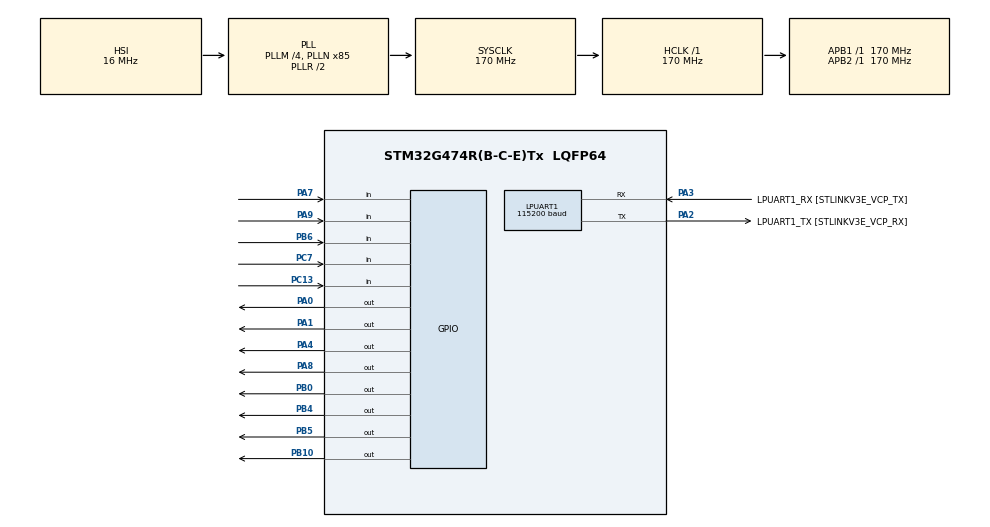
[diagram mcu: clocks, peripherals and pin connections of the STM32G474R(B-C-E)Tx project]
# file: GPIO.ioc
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LPUART1.BaudRate=115200
LPUART1.WordLength=UART_WORDLENGTH_8B
Mcu.Family=STM32G4
Mcu.Name=STM32G474R(B-C-E)Tx
Mcu.Package=LQFP64
NVIC.PriorityGroup=NVIC_PRIORITYGROUP_4
PA0.Signal=GPIO_Output
PA1.Signal=GPIO_Output
PA13.GPIO_Label=T_SWDIO
PA13.Mode=Serial_Wire
PA13.Signal=SYS_JTMS-SWDIO
PA14.GPIO_Label=T_SWCLK
PA14.Mode=Serial_Wire
PA14.Signal=SYS_JTCK-SWCLK
PA2.GPIO_Label=LPUART1_TX [STLINKV3E_VCP_RX]
PA2.Mode=Asynchronous
PA2.Signal=LPUART1_TX
PA3.GPIO_Label=LPUART1_RX [STLINKV3E_VCP_TX]
PA3.Mode=Asynchronous
PA3.Signal=LPUART1_RX
PA4.Signal=GPIO_Output
PA7.GPIO_PuPd=GPIO_PULLUP
PA7.Signal=GPIO_Input
PA8.GPIO_ModeDefaultOutputPP=GPIO_MODE_OUTPUT_OD
PA8.GPIO_PuPd=GPIO_NOPULL
PA8.Signal=GPIO_Output
PA9.GPIO_PuPd=GPIO_PULLUP
PA9.Signal=GPIO_Input
PB0.Signal=GPIO_Output
PB10.GPIO_ModeDefaultOutputPP=GPIO_MODE_OUTPUT_OD
PB10.GPIO_PuPd=GPIO_NOPULL
PB10.Signal=GPIO_Output
PB3.GPIO_Label=T_SWO
PB3.Signal=SYS_JTDO-SWO
PB4.GPIO_ModeDefaultOutputPP=GPIO_MODE_OUTPUT_OD
PB4.GPIO_PuPd=GPIO_NOPULL
PB4.Signal=GPIO_Output
PB5.GPIO_ModeDefaultOutputPP=GPIO_MODE_OUTPUT_OD
PB5.GPIO_PuPd=GPIO_NOPULL
PB5.Signal=GPIO_Output
PB6.GPIO_PuPd=GPIO_PULLUP
PB6.Signal=GPIO_Input
PC13.Signal=GPIO_Input
PC14-OSC32_IN.Mode=LSE-External-Oscillator
PC14-OSC32_IN.Signal=RCC_OSC32_IN
PC15-OSC32_OUT.Mode=LSE-External-Oscillator
PC15-OSC32_OUT.Signal=RCC_OSC32_OUT
PC7.GPIO_PuPd=GPIO_PULLUP
PC7.Signal=GPIO_Input
PF0-OSC_IN.Mode=HSE-External-Oscillator
PF0-OSC_IN.Signal=RCC_OSC_IN
PF1-OSC_OUT.Mode=HSE-External-Oscillator
PF1-OSC_OUT.Signal=RCC_OSC_OUT
ProjectManager.HeapSize=0x200
ProjectManager.StackSize=0x400
ProjectManager.TargetToolchain=STM32CubeIDE
RCC.ADC12Freq_Value=170000000
RCC.ADC345Freq_Value=170000000
RCC.AHBFreq_Value=170000000
RCC.APB1Freq_Value=170000000
RCC.APB1TimFreq_Value=170000000
RCC.APB2Freq_Value=170000000
RCC.APB2TimFreq_Value=170000000
RCC.CortexFreq_Value=170000000
RCC.EXTERNAL_CLOCK_VALUE=12288000
RCC.HCLKFreq_Value=170000000
RCC.HSE_VALUE=24000000
RCC.HSI48_VALUE=48000000
RCC.HSI_VALUE=16000000
RCC.PLLM=RCC_PLLM_DIV4
RCC.PLLN=85
RCC.RTCClockSelection=RCC_RTCCLKSOURCE_LSE
RCC.SYSCLKFreq_VALUE=170000000
RCC.SYSCLKSource=RCC_SYSCLKSOURCE_PLLCLK
RCC.USBFreq_Value=170000000
RCC.VCOOutputFreq_Value=340000000
VP_SYS_VS_DBSignals.Mode=DisableDeadBatterySignals
board=NUCLEO-G474RE

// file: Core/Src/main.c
/* USER CODE BEGIN Header */
/**
  ******************************************************************************
  * @file           : main.c
  * @brief          : Main program body
  ******************************************************************************
  * @attention
  *
  * Copyright (c) 2023 STMicroelectronics.
  * All rights reserved.
  *
  * This software is licensed under terms that can be found in the LICENSE file
  * in the root directory of this software component.
  * If no LICENSE file comes with this software, it is provided AS-IS.
  *
  ******************************************************************************
  */
/* USER CODE END Header */
#include "main.h"

UART_HandleTypeDef hlpuart1;

/* USER CODE BEGIN PV */
struct _ButMtx_Struct {
GPIO_TypeDef* Port;
    uint16_t Pin;
};
struct _ButMtx_Struct BMX_L[4] = { {GPIOA,GPIO_PIN_9}, {GPIOC,GPIO_PIN_7}, {GPIOB,GPIO_PIN_6}, {GPIOA,GPIO_PIN_7}
};
struct _ButMtx_Struct BMX_R[4] = { {GPIOB,GPIO_PIN_5}, {GPIOB,GPIO_PIN_4}, {GPIOB,GPIO_PIN_10}, {GPIOA,GPIO_PIN_8}
};
uint16_t ButtonState = 0;
/* USER CODE END PV */

void SystemClock_Config(void);
static void MX_GPIO_Init(void);
static void MX_LPUART1_UART_Init(void);

int main(void)
{

  /* MCU Configuration--------------------------------------------------------*/

  /* Reset of all peripherals, Initializes the Flash interface and the Systick. */
  HAL_Init();

  /* Configure the system clock */
  SystemClock_Config();

  /* Initialize all configured peripherals */
  MX_GPIO_Init();
  MX_LPUART1_UART_Init();
  /* USER CODE BEGIN 2 */
  HAL_GPIO_WritePin(GPIOA, GPIO_PIN_5, GPIO_PIN_SET);
  /* USER CODE END 2 */

  /* Infinite loop */
  while (1)
  {

    /* USER CODE BEGIN 3 */
	  static uint32_t BTMX_TimeStamp = 0; if(HAL_GetTick() > BTMX_TimeStamp) {
	  BTMX_TimeStamp = HAL_GetTick() + 25; //next scan in 25 ms ButtonMatrixRead();
	  } }

    /* USER CODE BEGIN 3 */
	  GPIO_PinState S1 = HAL_GPIO_ReadPin(GPIOA, GPIO_PIN_8);
	  GPIO_PinState S2 = HAL_GPIO_ReadPin(GPIOA, GPIO_PIN_9);
	  GPIO_PinState S3 = HAL_GPIO_ReadPin(GPIOC, GPIO_PIN_7);
	  GPIO_PinState S4 = HAL_GPIO_ReadPin(GPIOB, GPIO_PIN_6);
	  HAL_GPIO_WritePin(GPIOB, GPIO_PIN_0, S1);
	  HAL_GPIO_WritePin(GPIOA, GPIO_PIN_4, S2);
	  HAL_GPIO_WritePin(GPIOA, GPIO_PIN_1, S3);
	  HAL_GPIO_WritePin(GPIOA, GPIO_PIN_0, S4);

  }
  /* USER CODE END 3 */

void SystemClock_Config(void)
{
  RCC_OscInitTypeDef RCC_OscInitStruct = {0};
  RCC_ClkInitTypeDef RCC_ClkInitStruct = {0};

  /** Configure the main internal regulator output voltage
  */
  HAL_PWREx_ControlVoltageScaling(PWR_REGULATOR_VOLTAGE_SCALE1_BOOST);

  /** Initializes the RCC Oscillators according to the specified parameters
  * in the RCC_OscInitTypeDef structure.
  */
  RCC_OscInitStruct.OscillatorType = RCC_OSCILLATORTYPE_HSI;
  RCC_OscInitStruct.HSIState = RCC_HSI_ON;
  RCC_OscInitStruct.HSICalibrationValue = RCC_HSICALIBRATION_DEFAULT;
  RCC_OscInitStruct.PLL.PLLState = RCC_PLL_ON;
  RCC_OscInitStruct.PLL.PLLSource = RCC_PLLSOURCE_HSI;
  RCC_OscInitStruct.PLL.PLLM = RCC_PLLM_DIV4;
  RCC_OscInitStruct.PLL.PLLN = 85;
  RCC_OscInitStruct.PLL.PLLP = RCC_PLLP_DIV2;
  RCC_OscInitStruct.PLL.PLLQ = RCC_PLLQ_DIV2;
  RCC_OscInitStruct.PLL.PLLR = RCC_PLLR_DIV2;
  if (HAL_RCC_OscConfig(&RCC_OscInitStruct) != HAL_OK)
  {
    Error_Handler();
  }

  /** Initializes the CPU, AHB and APB buses clocks
  */
  RCC_ClkInitStruct.ClockType = RCC_CLOCKTYPE_HCLK|RCC_CLOCKTYPE_SYSCLK
                              |RCC_CLOCKTYPE_PCLK1|RCC_CLOCKTYPE_PCLK2;
  RCC_ClkInitStruct.SYSCLKSource = RCC_SYSCLKSOURCE_PLLCLK;
  RCC_ClkInitStruct.AHBCLKDivider = RCC_SYSCLK_DIV1;
  RCC_ClkInitStruct.APB1CLKDivider = RCC_HCLK_DIV1;
  RCC_ClkInitStruct.APB2CLKDivider = RCC_HCLK_DIV1;

  if (HAL_RCC_ClockConfig(&RCC_ClkInitStruct, FLASH_LATENCY_4) != HAL_OK)
  {
    Error_Handler();
  }
}

static void MX_LPUART1_UART_Init(void)
{

  hlpuart1.Instance = LPUART1;
  hlpuart1.Init.BaudRate = 115200;
  hlpuart1.Init.WordLength = UART_WORDLENGTH_8B;
  hlpuart1.Init.StopBits = UART_STOPBITS_1;
  hlpuart1.Init.Parity = UART_PARITY_NONE;
  hlpuart1.Init.Mode = UART_MODE_TX_RX;
  hlpuart1.Init.HwFlowCtl = UART_HWCONTROL_NONE;
  hlpuart1.Init.OneBitSampling = UART_ONE_BIT_SAMPLE_DISABLE;
  hlpuart1.Init.ClockPrescaler = UART_PRESCALER_DIV1;
  hlpuart1.AdvancedInit.AdvFeatureInit = UART_ADVFEATURE_NO_INIT;
  if (HAL_UART_Init(&hlpuart1) != HAL_OK)
  {
    Error_Handler();
  }
  if (HAL_UARTEx_SetTxFifoThreshold(&hlpuart1, UART_TXFIFO_THRESHOLD_1_8) != HAL_OK)
  {
    Error_Handler();
  }
  if (HAL_UARTEx_SetRxFifoThreshold(&hlpuart1, UART_RXFIFO_THRESHOLD_1_8) != HAL_OK)
  {
    Error_Handler();
  }
  if (HAL_UARTEx_DisableFifoMode(&hlpuart1) != HAL_OK)
  {
    Error_Handler();
  }

}

static void MX_GPIO_Init(void)
{
  GPIO_InitTypeDef GPIO_InitStruct = {0};

  /* GPIO Ports Clock Enable */
  __HAL_RCC_GPIOC_CLK_ENABLE();
  __HAL_RCC_GPIOF_CLK_ENABLE();
  __HAL_RCC_GPIOA_CLK_ENABLE();
  __HAL_RCC_GPIOB_CLK_ENABLE();

  /*Configure GPIO pin Output Level */
  HAL_GPIO_WritePin(GPIOA, GPIO_PIN_0|GPIO_PIN_1|GPIO_PIN_4|GPIO_PIN_8, GPIO_PIN_RESET);

  /*Configure GPIO pin Output Level */
  HAL_GPIO_WritePin(GPIOB, GPIO_PIN_0|GPIO_PIN_10|GPIO_PIN_4|GPIO_PIN_5, GPIO_PIN_RESET);

  /*Configure GPIO pin : PC13 */
  GPIO_InitStruct.Pin = GPIO_PIN_13;
  GPIO_InitStruct.Mode = GPIO_MODE_INPUT;
  GPIO_InitStruct.Pull = GPIO_NOPULL;
  HAL_GPIO_Init(GPIOC, &GPIO_InitStruct);

  /*Configure GPIO pins : PA0 PA1 PA4 */
  GPIO_InitStruct.Pin = GPIO_PIN_0|GPIO_PIN_1|GPIO_PIN_4;
  GPIO_InitStruct.Mode = GPIO_MODE_OUTPUT_PP;
  GPIO_InitStruct.Pull = GPIO_NOPULL;
  GPIO_InitStruct.Speed = GPIO_SPEED_FREQ_LOW;
  HAL_GPIO_Init(GPIOA, &GPIO_InitStruct);

  /*Configure GPIO pins : PA7 PA9 */
  GPIO_InitStruct.Pin = GPIO_PIN_7|GPIO_PIN_9;
  GPIO_InitStruct.Mode = GPIO_MODE_INPUT;
  GPIO_InitStruct.Pull = GPIO_PULLUP;
  HAL_GPIO_Init(GPIOA, &GPIO_InitStruct);

  /*Configure GPIO pin : PB0 */
  GPIO_InitStruct.Pin = GPIO_PIN_0;
  GPIO_InitStruct.Mode = GPIO_MODE_OUTPUT_PP;
  GPIO_InitStruct.Pull = GPIO_NOPULL;
  GPIO_InitStruct.Speed = GPIO_SPEED_FREQ_LOW;
  HAL_GPIO_Init(GPIOB, &GPIO_InitStruct);

  /*Configure GPIO pins : PB10 PB4 PB5 */
  GPIO_InitStruct.Pin = GPIO_PIN_10|GPIO_PIN_4|GPIO_PIN_5;
  GPIO_InitStruct.Mode = GPIO_MODE_OUTPUT_OD;
  GPIO_InitStruct.Pull = GPIO_NOPULL;
  GPIO_InitStruct.Speed = GPIO_SPEED_FREQ_LOW;
  HAL_GPIO_Init(GPIOB, &GPIO_InitStruct);

  /*Configure GPIO pin : PC7 */
  GPIO_InitStruct.Pin = GPIO_PIN_7;
  GPIO_InitStruct.Mode = GPIO_MODE_INPUT;
  GPIO_InitStruct.Pull = GPIO_PULLUP;
  HAL_GPIO_Init(GPIOC, &GPIO_InitStruct);

  /*Configure GPIO pin : PA8 */
  GPIO_InitStruct.Pin = GPIO_PIN_8;
  GPIO_InitStruct.Mode = GPIO_MODE_OUTPUT_OD;
  GPIO_InitStruct.Pull = GPIO_NOPULL;
  GPIO_InitStruct.Speed = GPIO_SPEED_FREQ_LOW;
  HAL_GPIO_Init(GPIOA, &GPIO_InitStruct);

  /*Configure GPIO pin : PB6 */
  GPIO_InitStruct.Pin = GPIO_PIN_6;
  GPIO_InitStruct.Mode = GPIO_MODE_INPUT;
  GPIO_InitStruct.Pull = GPIO_PULLUP;
  HAL_GPIO_Init(GPIOB, &GPIO_InitStruct);

}

/* USER CODE BEGIN 4 */
void ButtonMatrixRead(){ static uint8_t X=0;
for(int i=0; i<4; i++) {
if(HAL_GPIO_ReadPin(BMX_L[i].Port, BMX_L[i].Pin) == GPIO_PIN_RESET) { //�?�?ุมถู�?�?ด
ButtonState |= 1 << (i + (X * 4)); }
else
{
ButtonState &= ~(1 << (i + (X * 4)));
} }
//set currentL to Hi-z (open drain)
HAL_GPIO_WritePin(BMX_R[X].Port, BMX_R[X].Pin, GPIO_PIN_SET);
//set nextL to low
uint8_t nextX = (X + 1) % 4;
HAL_GPIO_WritePin(BMX_R[nextX].Port, BMX_R[nextX].Pin, GPIO_PIN_RESET); X = nextX;
}
/* USER CODE END 4 */

void Error_Handler(void)
{
  __disable_irq();
  while (1)
  {
  }
}
